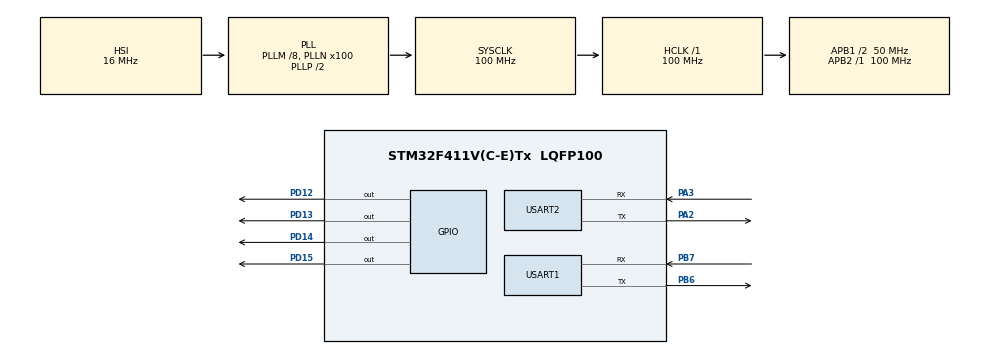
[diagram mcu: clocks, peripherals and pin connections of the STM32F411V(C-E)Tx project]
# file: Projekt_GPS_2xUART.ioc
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Dma.Request0=USART1_TX
Dma.Request1=USART1_RX
Dma.Request2=USART2_RX
Dma.Request3=USART2_TX
Dma.USART1_RX.1.Direction=DMA_PERIPH_TO_MEMORY
Dma.USART1_RX.1.FIFOMode=DMA_FIFOMODE_DISABLE
Dma.USART1_RX.1.Instance=DMA2_Stream2
Dma.USART1_RX.1.MemDataAlignment=DMA_MDATAALIGN_BYTE
Dma.USART1_RX.1.MemInc=DMA_MINC_ENABLE
Dma.USART1_RX.1.Mode=DMA_NORMAL
Dma.USART1_RX.1.PeriphDataAlignment=DMA_PDATAALIGN_BYTE
Dma.USART1_RX.1.PeriphInc=DMA_PINC_DISABLE
Dma.USART1_RX.1.Priority=DMA_PRIORITY_LOW
Dma.USART1_TX.0.Direction=DMA_MEMORY_TO_PERIPH
Dma.USART1_TX.0.FIFOMode=DMA_FIFOMODE_DISABLE
Dma.USART1_TX.0.Instance=DMA2_Stream7
Dma.USART1_TX.0.MemDataAlignment=DMA_MDATAALIGN_BYTE
Dma.USART1_TX.0.MemInc=DMA_MINC_ENABLE
Dma.USART1_TX.0.Mode=DMA_NORMAL
Dma.USART1_TX.0.PeriphDataAlignment=DMA_PDATAALIGN_BYTE
Dma.USART1_TX.0.PeriphInc=DMA_PINC_DISABLE
Dma.USART1_TX.0.Priority=DMA_PRIORITY_LOW
Dma.USART2_RX.2.Direction=DMA_PERIPH_TO_MEMORY
Dma.USART2_RX.2.FIFOMode=DMA_FIFOMODE_DISABLE
Dma.USART2_RX.2.Instance=DMA1_Stream5
Dma.USART2_RX.2.MemDataAlignment=DMA_MDATAALIGN_BYTE
Dma.USART2_RX.2.MemInc=DMA_MINC_ENABLE
Dma.USART2_RX.2.Mode=DMA_NORMAL
Dma.USART2_RX.2.PeriphDataAlignment=DMA_PDATAALIGN_BYTE
Dma.USART2_RX.2.PeriphInc=DMA_PINC_DISABLE
Dma.USART2_RX.2.Priority=DMA_PRIORITY_LOW
Dma.USART2_TX.3.Direction=DMA_MEMORY_TO_PERIPH
Dma.USART2_TX.3.FIFOMode=DMA_FIFOMODE_DISABLE
Dma.USART2_TX.3.Instance=DMA1_Stream6
Dma.USART2_TX.3.MemDataAlignment=DMA_MDATAALIGN_BYTE
Dma.USART2_TX.3.MemInc=DMA_MINC_ENABLE
Dma.USART2_TX.3.Mode=DMA_NORMAL
Dma.USART2_TX.3.PeriphDataAlignment=DMA_PDATAALIGN_BYTE
Dma.USART2_TX.3.PeriphInc=DMA_PINC_DISABLE
Dma.USART2_TX.3.Priority=DMA_PRIORITY_LOW
Mcu.Family=STM32F4
Mcu.Name=STM32F411V(C-E)Tx
Mcu.Package=LQFP100
NVIC.DMA1_Stream5_IRQn=true\:0\:0\:false\:false\:true\:false
NVIC.DMA1_Stream6_IRQn=true\:0\:0\:false\:false\:true\:false
NVIC.DMA2_Stream2_IRQn=true\:0\:0\:false\:false\:true\:false
NVIC.DMA2_Stream7_IRQn=true\:0\:0\:false\:false\:true\:false
NVIC.PriorityGroup=NVIC_PRIORITYGROUP_4
NVIC.USART1_IRQn=true\:0\:0\:false\:false\:true\:true
NVIC.USART2_IRQn=true\:0\:0\:false\:false\:true\:true
PA2.Mode=Asynchronous
PA2.Signal=USART2_TX
PA3.Mode=Asynchronous
PA3.Signal=USART2_RX
PB6.Mode=Asynchronous
PB6.Signal=USART1_TX
PB7.Mode=Asynchronous
PB7.Signal=USART1_RX
PD12.Signal=GPIO_Output
PD13.Signal=GPIO_Output
PD14.Signal=GPIO_Output
PD15.Signal=GPIO_Output
ProjectManager.HeapSize=0x200
ProjectManager.StackSize=0x400
ProjectManager.TargetToolchain=SW4STM32
RCC.48MHZClocksFreq_Value=50000000
RCC.AHBFreq_Value=100000000
RCC.APB1CLKDivider=RCC_HCLK_DIV2
RCC.APB1Freq_Value=50000000
RCC.APB1TimFreq_Value=100000000
RCC.APB2Freq_Value=100000000
RCC.APB2TimFreq_Value=100000000
RCC.CortexFreq_Value=100000000
RCC.HCLKFreq_Value=100000000
RCC.HSE_VALUE=25000000
RCC.HSI_VALUE=16000000
RCC.LSE_VALUE=32768
RCC.PLLM=8
RCC.PLLN=100
RCC.SYSCLKFreq_VALUE=100000000
RCC.SYSCLKSource=RCC_SYSCLKSOURCE_PLLCLK
RCC.VCOOutputFreq_Value=200000000
USART1.VirtualMode=VM_ASYNC
USART2.VirtualMode=VM_ASYNC
board=Projekt_GPS_2xUART

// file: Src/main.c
/**
  ******************************************************************************
  * @file           : main.c
  * @brief          : Main program body
  ******************************************************************************
  ** This notice applies to any and all portions of this file
  * that are not between comment pairs USER CODE BEGIN and
  * USER CODE END. Other portions of this file, whether
  * inserted by the user or by software development tools
  * are owned by their respective copyright owners.
  *
  * COPYRIGHT(c) 2018 STMicroelectronics
  *
  * Redistribution and use in source and binary forms, with or without modification,
  * are permitted provided that the following conditions are met:
  *   1. Redistributions of source code must retain the above copyright notice,
  *      this list of conditions and the following disclaimer.
  *   2. Redistributions in binary form must reproduce the above copyright notice,
  *      this list of conditions and the following disclaimer in the documentation
  *      and/or other materials provided with the distribution.
  *   3. Neither the name of STMicroelectronics nor the names of its contributors
  *      may be used to endorse or promote products derived from this software
  *      without specific prior written permission.
  *
  * THIS SOFTWARE IS PROVIDED BY THE COPYRIGHT HOLDERS AND CONTRIBUTORS "AS IS"
  * AND ANY EXPRESS OR IMPLIED WARRANTIES, INCLUDING, BUT NOT LIMITED TO, THE
  * IMPLIED WARRANTIES OF MERCHANTABILITY AND FITNESS FOR A PARTICULAR PURPOSE ARE
  * DISCLAIMED. IN NO EVENT SHALL THE COPYRIGHT HOLDER OR CONTRIBUTORS BE LIABLE
  * FOR ANY DIRECT, INDIRECT, INCIDENTAL, SPECIAL, EXEMPLARY, OR CONSEQUENTIAL
  * DAMAGES (INCLUDING, BUT NOT LIMITED TO, PROCUREMENT OF SUBSTITUTE GOODS OR
  * SERVICES; LOSS OF USE, DATA, OR PROFITS; OR BUSINESS INTERRUPTION) HOWEVER
  * CAUSED AND ON ANY THEORY OF LIABILITY, WHETHER IN CONTRACT, STRICT LIABILITY,
  * OR TORT (INCLUDING NEGLIGENCE OR OTHERWISE) ARISING IN ANY WAY OUT OF THE USE
  * OF THIS SOFTWARE, EVEN IF ADVISED OF THE POSSIBILITY OF SUCH DAMAGE.
  *
  ******************************************************************************
  */
#include "main.h"
#include "stm32f4xx_hal.h"

UART_HandleTypeDef huart1;
UART_HandleTypeDef huart2;
DMA_HandleTypeDef hdma_usart1_tx;
DMA_HandleTypeDef hdma_usart1_rx;
DMA_HandleTypeDef hdma_usart2_rx;
DMA_HandleTypeDef hdma_usart2_tx;

/* USER CODE BEGIN PV */
/* Private variables ---------------------------------------------------------*/
uint8_t Received[300];
uint8_t Buffor[200];
uint8_t Wynik[200];
uint8_t Wynik2[200];
uint8_t Wynik3[200];
uint8_t Transmit[90];
uint8_t *p = Received;
uint8_t Srednia[10];

//wzorzec czego szukam do funkcji
uint8_t Wzorzec_GNGLL[5] = "GNGLL";
uint8_t Wzorzec_GNGGA[5] = "GNGGA";
uint8_t Wzorzec_GNVTG[5] = "GNVTG";

//Tablica do sredniej
uint8_t Tablica_srednia[10] = {0};
uint8_t index = 0;

uint8_t Test0[200];
uint8_t Test1[200] = "1dfgdfg$GNGLL,5423.47883,N,01836.97981,E,202636.00,A,A*76dfgdbdfb";
uint8_t Test3[200] = "1231$GNGLL,542,123";
/* USER CODE END PV */

void SystemClock_Config(void);
static void MX_GPIO_Init(void);
static void MX_DMA_Init(void);
static void MX_USART1_UART_Init(void);
static void MX_USART2_UART_Init(void);
//int filtrowanie(uint8_t *buffor, int nr_parametru);

/* USER CODE BEGIN PFP */
/* Private function prototypes -----------------------------------------------*/

/* USER CODE END PFP */
void HAL_UART_RxCpltCallback(UART_HandleTypeDef *huart) {
	HAL_UART_Receive_DMA(&huart1, Received, 300);
	sprintf(Transmit,"%s\n",Received);
	HAL_UART_Transmit_IT(&huart1, Transmit, strlen(Transmit));

	/*int par = filtrowanie(Received,1,Wynik,Wzorzec_GNGGA);
	  //int par = 1;
	  switch(par){
	   case 0:
		 sprintf(Test0,"%s\n\r",Wynik);
	  	 HAL_UART_Transmit_IT(&huart1, Test0, strlen(Test0));
	  	 break;
	   case 1:
		 sprintf(Test0,"%s\n\r","brak $");
		 HAL_UART_Transmit_IT(&huart1, Test0, strlen(Test0));
		 break;
	   case 2:
		 sprintf(Test0,"%s\n\r","skladnia");
		 HAL_UART_Transmit_IT(&huart1, Test0, strlen(Test0));
		 break;
	   case 3:
		 sprintf(Test0,"%s\n\r","pusty");
		 HAL_UART_Transmit_IT(&huart1, Test0, strlen(Test0));
		 break;
	   default:
		 sprintf(Test0,"%s\n\r","error");
		 HAL_UART_Transmit_IT(&huart1, Test0, strlen(Test0));
		 break;
	  }*/
	//HAL_UART_Transmit_IT(&huart1, Transmit, 90);
	//HAL_GPIO_WritePin(GPIOD, GPIO_PIN_15, GPIO_PIN_SET);
	HAL_GPIO_TogglePin(GPIOD, GPIO_PIN_15);
}

int main(void)
{

  /* MCU Configuration----------------------------------------------------------*/

  /* Reset of all peripherals, Initializes the Flash interface and the Systick. */
  HAL_Init();

  /* Configure the system clock */
  SystemClock_Config();

  /* Initialize all configured peripherals */
  MX_GPIO_Init();
  MX_DMA_Init();
  MX_USART1_UART_Init();
  MX_USART2_UART_Init();
  /* USER CODE BEGIN 2 */
  HAL_UART_Receive_IT(&huart1, Received, 300);
  /* USER CODE END 2 */
  //sprintf(Test0,"%s\n\r",Test1);
  //HAL_UART_Transmit_IT(&huart1, Test0, strlen(Test0));
  //HAL_UART_Transmit_IT(&huart1, Test0, strlen(Test0));

  /*int par = filtrowanie(Test1,1,Wynik,Wzorzec_GNGGA);
  //int par = 1;
  switch(par){
   case 0:
	 sprintf(Test0,"%s\n\r",Wynik);
  	 HAL_UART_Transmit_IT(&huart1, Test0, strlen(Test0));
  	 break;
   case 1:
	 sprintf(Test0,"%s\n\r","brak $");
	 HAL_UART_Transmit_IT(&huart1, Test0, strlen(Test0));
	 break;
   case 2:
	 sprintf(Test0,"%s\n\r","skladnia");
	 HAL_UART_Transmit_IT(&huart1, Test0, strlen(Test0));
	 break;
   case 3:
	 sprintf(Test0,"%s\n\r","pusty");
	 HAL_UART_Transmit_IT(&huart1, Test0, strlen(Test0));
	 break;
   default:
	 sprintf(Test0,"%s\n\r","error");
	 HAL_UART_Transmit_IT(&huart1, Test0, strlen(Test0));
	 break;
  }*/
  /* Infinite loop */
  while (1)
  {
	/*  if(strlen(Received)>0){
		int par = filtrowanie(Received,1,Wynik,Wzorzec_GNGLL);
		filtrowanie(Received,3,Wynik2,Wzorzec_GNGLL);
		filtrowanie(Received,7,Wynik3,Wzorzec_GNVTG);
		if(par == 0){
		  switch(par){
		   case 0:
			 //sprintf(Test0, "%s\n\n\r", Received);
			 //HAL_UART_Transmit_IT(&huart1, Test0, strlen(Test0));
			 if((strlen(Wynik) == 9) && (strlen(Wynik2) == 10) && (strlen(Wynik3) == 4)){
				 sprintf(Test0,"%s %s %s\n\r",Wynik, Wynik2, Wynik3);//tutaj wstawic Wynik
				 HAL_UART_Transmit_IT(&huart1, Test0, strlen(Test0));
				 Received[0] = '\0';
			 }
		  	 break;
		   case 1:
			 sprintf(Test0,"%s\n\r","brak $");
			 HAL_UART_Transmit_IT(&huart1, Test0, strlen(Test0));
			 break;
		   case 2:
			 sprintf(Test0,"%s\n\r","skladnia");
			 HAL_UART_Transmit_IT(&huart1, Test0, strlen(Test0));
			 break;
		   case 3:
			 sprintf(Test0,"%s\n\r","pusty");
			 HAL_UART_Transmit_IT(&huart1, Test0, strlen(Test0));
			 break;
		   default:
			 sprintf(Test0,"%s\n\r","error");
			 HAL_UART_Transmit_IT(&huart1, Test0, strlen(Test0));
			 break;
		  }
		}
	  }*/
  }

}

void SystemClock_Config(void)
{

  RCC_OscInitTypeDef RCC_OscInitStruct;
  RCC_ClkInitTypeDef RCC_ClkInitStruct;

    /**Configure the main internal regulator output voltage
    */
  __HAL_RCC_PWR_CLK_ENABLE();

  __HAL_PWR_VOLTAGESCALING_CONFIG(PWR_REGULATOR_VOLTAGE_SCALE1);

    /**Initializes the CPU, AHB and APB busses clocks
    */
  RCC_OscInitStruct.OscillatorType = RCC_OSCILLATORTYPE_HSI;
  RCC_OscInitStruct.HSIState = RCC_HSI_ON;
  RCC_OscInitStruct.HSICalibrationValue = 16;
  RCC_OscInitStruct.PLL.PLLState = RCC_PLL_ON;
  RCC_OscInitStruct.PLL.PLLSource = RCC_PLLSOURCE_HSI;
  RCC_OscInitStruct.PLL.PLLM = 8;
  RCC_OscInitStruct.PLL.PLLN = 100;
  RCC_OscInitStruct.PLL.PLLP = RCC_PLLP_DIV2;
  RCC_OscInitStruct.PLL.PLLQ = 4;
  if (HAL_RCC_OscConfig(&RCC_OscInitStruct) != HAL_OK)
  {
    _Error_Handler(__FILE__, __LINE__);
  }

    /**Initializes the CPU, AHB and APB busses clocks
    */
  RCC_ClkInitStruct.ClockType = RCC_CLOCKTYPE_HCLK|RCC_CLOCKTYPE_SYSCLK
                              |RCC_CLOCKTYPE_PCLK1|RCC_CLOCKTYPE_PCLK2;
  RCC_ClkInitStruct.SYSCLKSource = RCC_SYSCLKSOURCE_PLLCLK;
  RCC_ClkInitStruct.AHBCLKDivider = RCC_SYSCLK_DIV1;
  RCC_ClkInitStruct.APB1CLKDivider = RCC_HCLK_DIV2;
  RCC_ClkInitStruct.APB2CLKDivider = RCC_HCLK_DIV1;

  if (HAL_RCC_ClockConfig(&RCC_ClkInitStruct, FLASH_LATENCY_3) != HAL_OK)
  {
    _Error_Handler(__FILE__, __LINE__);
  }

    /**Configure the Systick interrupt time
    */
  HAL_SYSTICK_Config(HAL_RCC_GetHCLKFreq()/1000);

    /**Configure the Systick
    */
  HAL_SYSTICK_CLKSourceConfig(SYSTICK_CLKSOURCE_HCLK);

  /* SysTick_IRQn interrupt configuration */
  HAL_NVIC_SetPriority(SysTick_IRQn, 0, 0);
}

/* USART1 init function */
static void MX_USART1_UART_Init(void)
{

  huart1.Instance = USART1;
  huart1.Init.BaudRate = 9600;
  huart1.Init.WordLength = UART_WORDLENGTH_8B;
  huart1.Init.StopBits = UART_STOPBITS_1;
  huart1.Init.Parity = UART_PARITY_NONE;
  huart1.Init.Mode = UART_MODE_TX_RX;
  huart1.Init.HwFlowCtl = UART_HWCONTROL_NONE;
  huart1.Init.OverSampling = UART_OVERSAMPLING_16;
  if (HAL_UART_Init(&huart1) != HAL_OK)
  {
    _Error_Handler(__FILE__, __LINE__);
  }

}

/* USART2 init function */
static void MX_USART2_UART_Init(void)
{

  huart2.Instance = USART2;
  huart2.Init.BaudRate = 9600;
  huart2.Init.WordLength = UART_WORDLENGTH_8B;
  huart2.Init.StopBits = UART_STOPBITS_1;
  huart2.Init.Parity = UART_PARITY_NONE;
  huart2.Init.Mode = UART_MODE_TX_RX;
  huart2.Init.HwFlowCtl = UART_HWCONTROL_NONE;
  huart2.Init.OverSampling = UART_OVERSAMPLING_16;
  if (HAL_UART_Init(&huart2) != HAL_OK)
  {
    _Error_Handler(__FILE__, __LINE__);
  }

}

static void MX_DMA_Init(void)
{
  /* DMA controller clock enable */
  __HAL_RCC_DMA2_CLK_ENABLE();
  __HAL_RCC_DMA1_CLK_ENABLE();

  /* DMA interrupt init */
  /* DMA1_Stream5_IRQn interrupt configuration */
  HAL_NVIC_SetPriority(DMA1_Stream5_IRQn, 0, 0);
  HAL_NVIC_EnableIRQ(DMA1_Stream5_IRQn);
  /* DMA1_Stream6_IRQn interrupt configuration */
  HAL_NVIC_SetPriority(DMA1_Stream6_IRQn, 0, 0);
  HAL_NVIC_EnableIRQ(DMA1_Stream6_IRQn);
  /* DMA2_Stream2_IRQn interrupt configuration */
  HAL_NVIC_SetPriority(DMA2_Stream2_IRQn, 0, 0);
  HAL_NVIC_EnableIRQ(DMA2_Stream2_IRQn);
  /* DMA2_Stream7_IRQn interrupt configuration */
  HAL_NVIC_SetPriority(DMA2_Stream7_IRQn, 0, 0);
  HAL_NVIC_EnableIRQ(DMA2_Stream7_IRQn);

}

/** Configure pins as
        * Analog
        * Input
        * Output
        * EVENT_OUT
        * EXTI
*/
static void MX_GPIO_Init(void)
{

  GPIO_InitTypeDef GPIO_InitStruct;

  /* GPIO Ports Clock Enable */
  __HAL_RCC_GPIOA_CLK_ENABLE();
  __HAL_RCC_GPIOD_CLK_ENABLE();
  __HAL_RCC_GPIOB_CLK_ENABLE();

  /*Configure GPIO pin Output Level */
  HAL_GPIO_WritePin(GPIOD, GPIO_PIN_12|GPIO_PIN_13|GPIO_PIN_14|GPIO_PIN_15, GPIO_PIN_RESET);

  /*Configure GPIO pins : PD12 PD13 PD14 PD15 */
  GPIO_InitStruct.Pin = GPIO_PIN_12|GPIO_PIN_13|GPIO_PIN_14|GPIO_PIN_15;
  GPIO_InitStruct.Mode = GPIO_MODE_OUTPUT_PP;
  GPIO_InitStruct.Pull = GPIO_NOPULL;
  GPIO_InitStruct.Speed = GPIO_SPEED_FREQ_LOW;
  HAL_GPIO_Init(GPIOD, &GPIO_InitStruct);

}

void _Error_Handler(char *file, int line)
{
  while(1)
  {
  }
}

int filtrowanie(uint8_t *buf, int nr_parametru, uint8_t *wynik_lokalny, uint8_t *wzorzec)
{
	int i = 0;

	while((*buf != '$') && (i<200)){
		buf++;
		i++;
	}
	if (i>=200){
		return 1; //nie ma $
	}
	buf++;
	if(*buf != *(wzorzec+0)){
		return 2; // blad skladni
	}
	buf++;
	if(*buf != *(wzorzec+1)){
			return 2; // blad skladni
	}
	buf++;
	if(*buf != *(wzorzec+2)){
		return 2; // blad skladni
	}
	buf++;
	if(*buf != *(wzorzec+3)){
		return 2; // blad skladni
	}
	buf++;
	if(*buf != *(wzorzec+4)){
		return 2; // blad skladni
	}
	buf++;
	if(*buf != ','){
		return 2; // blad skladni
	}
	buf++;
	for (int j = 0; j < nr_parametru - 1; j++){
		while(*buf != ','){
			buf++;
		}
		buf++;
	}
	if(*buf == ','){
		*wynik_lokalny = '\0';
		return 3;
	}
	while(*buf != ','){
		if(*buf != '.'){
			*wynik_lokalny = *buf;
			wynik_lokalny++;
			buf++;
		} else {
			buf++;
		}
	}
	*wynik_lokalny = '\0';
	return 0;
}

/*int dodaj_pomiar(int *tab, int *nowy, uint8_t *wynik){
	if(index<9){
		tab[index] = nowy;
		index++;
		if(index == 0){
			wynik
		}
	} else {
		index = 0;
		tab[index] = nowy;
	}
}*/

/************************ (C) COPYRIGHT STMicroelectronics *****END OF FILE****/
